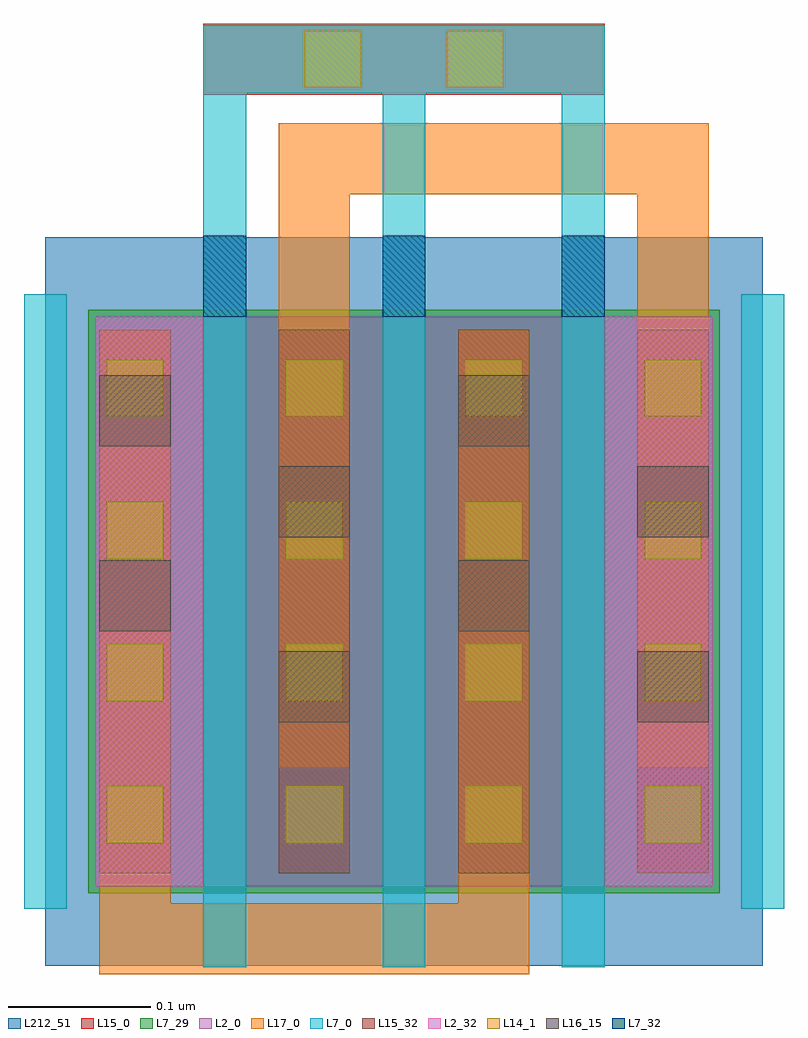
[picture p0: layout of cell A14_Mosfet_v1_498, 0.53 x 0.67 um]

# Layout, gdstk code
import gdstk
lib = gdstk.Library(unit=1e-6, precision=1e-09)
def R(c, l, rs):  # rectangles x0, y0, x1, y1
    for r in rs: c.add(gdstk.rectangle(r[:2], r[2:], *l))
def A(c, l, x, y, w, h, nx, ny, dx, dy):  # array of equal rectangles
    R(c, l, [(x+i*dx, y+j*dy, x+i*dx+w, y+j*dy+h) for i in range(nx) for j in range(ny)])
L2_0 = (2, 0)
L2_32 = (2, 32)
L7_0 = (7, 0)
L7_29 = (7, 29)
L7_32 = (7, 32)
L14_1 = (14, 1)
L15_0 = (15, 0)
L15_32 = (15, 32)
L16_15 = (16, 15)
L17_0 = (17, 0)
L212_51 = (212, 51)

a14_mosfet_v1_498_srf_so = lib.new_cell('A14_Mosfet_v1_498:SRF_Source_ViaM1M2:SRF_ViaM1M2')
R(a14_mosfet_v1_498_srf_so, L15_0, [(0,-0.162,0.05,0.082)])
R(a14_mosfet_v1_498_srf_so, L16_15, [(0,-0.13,0.05,-0.08), (0,0,0.05,0.05)])
R(a14_mosfet_v1_498_srf_so, L17_0, [(0,-0.162,0.05,0.082)])

c_a14_mosfet_v1_498_srf_so = lib.new_cell('A14_Mosfet_v1_498:SRF_Source_ViaM1M2')
c_a14_mosfet_v1_498_srf_so.add(gdstk.Reference(a14_mosfet_v1_498_srf_so, (-0.025,0.04)))

a14_mosfet_v1_498_srf_dr = lib.new_cell('A14_Mosfet_v1_498:SRF_Drain_ViaM1M2:SRF_ViaM1M2')
R(a14_mosfet_v1_498_srf_dr, L15_0, [(0,-0.162,0.05,0.082)])
R(a14_mosfet_v1_498_srf_dr, L16_15, [(0,-0.13,0.05,-0.08), (0,0,0.05,0.05)])
R(a14_mosfet_v1_498_srf_dr, L17_0, [(0,-0.162,0.05,0.082)])

c_a14_mosfet_v1_498_srf_dr = lib.new_cell('A14_Mosfet_v1_498:SRF_Drain_ViaM1M2')
c_a14_mosfet_v1_498_srf_dr.add(gdstk.Reference(a14_mosfet_v1_498_srf_dr, (-0.025,0.04)))

a14_mosfet_v1_498_srf_ga = lib.new_cell('A14_Mosfet_v1_498:SRF_Gate_ViaM0Mx:SRF_ViaM0M1')
R(a14_mosfet_v1_498_srf_ga, L7_0, [(-0.01,-0.004,0.15,0.044)])
R(a14_mosfet_v1_498_srf_ga, L14_1, [(0,0,0.04,0.04), (0.1,0,0.14,0.04)])
R(a14_mosfet_v1_498_srf_ga, L15_0, [(-0.021,-0.005,0.161,0.045)])

c_a14_mosfet_v1_498_srf_ga = lib.new_cell('A14_Mosfet_v1_498:SRF_Gate_ViaM0Mx')
c_a14_mosfet_v1_498_srf_ga.add(gdstk.Reference(a14_mosfet_v1_498_srf_ga, (-0.07,-0.02)))

a14_mosfet_v1_498 = lib.new_cell('A14_Mosfet_v1_498')
R(a14_mosfet_v1_498, L2_0, [(-0.076,0.057,0.358,0.457)])
R(a14_mosfet_v1_498, L2_32, [(-0.076,0.057,0,0.457), (0.282,0.057,0.358,0.457)])
A(a14_mosfet_v1_498, L7_0, 0, 0, 0.03, 0.514, 3, 1, 0.126, 0)
A(a14_mosfet_v1_498, L7_0, 0, 0.514, 0.03, 0.1, 3, 1, 0.126, 0)
R(a14_mosfet_v1_498, L7_0, [(-0.126,0.041,-0.096,0.473), (0.378,0.041,0.408,0.473), (0,0.614,0.282,0.662)])
R(a14_mosfet_v1_498, L7_29, [(-0.081,0.052,0.363,0.462)])
A(a14_mosfet_v1_498, L7_32, 0, 0.457, 0.03, 0.057, 3, 1, 0.126, 0)
A(a14_mosfet_v1_498, L14_1, -0.068, 0.087, 0.04, 0.04, 4, 4, 0.126, 0.1)
R(a14_mosfet_v1_498, L15_0, [(-0.073,0.066,-0.023,0.448), (-0.073,0.066,-0.023,0.448), (0.053,0.066,0.103,0.448), (0.053,0.066,0.103,0.448), (0.179,0.066,0.229,0.448), (0.179,0.066,0.229,0.448), (0.305,0.066,0.355,0.448), (0.305,0.066,0.355,0.448), (0,0.613,0.282,0.663)])
A(a14_mosfet_v1_498, L15_32, -0.073, 0.066, 0.05, 0.382, 4, 1, 0.126, 0)
R(a14_mosfet_v1_498, L17_0, [(-0.073,-0.005,0.229,0.045), (-0.073,0.045,-0.023,0.448), (0.179,0.045,0.229,0.448), (0.053,0.384,0.103,0.543), (0.305,0.384,0.355,0.543), (0.053,0.543,0.355,0.593)])
R(a14_mosfet_v1_498, L212_51, [(-0.111,0.001,0.393,0.513)])
a14_mosfet_v1_498.add(gdstk.Reference(c_a14_mosfet_v1_498_srf_so, (-0.048,0.326)))
a14_mosfet_v1_498.add(gdstk.Reference(c_a14_mosfet_v1_498_srf_so, (0.204,0.326)))
a14_mosfet_v1_498.add(gdstk.Reference(c_a14_mosfet_v1_498_srf_dr, (0.078,0.262)))
a14_mosfet_v1_498.add(gdstk.Reference(c_a14_mosfet_v1_498_srf_dr, (0.33,0.262)))
a14_mosfet_v1_498.add(gdstk.Reference(c_a14_mosfet_v1_498_srf_ga, (0.141,0.638)))

lib.write_gds('A14_Mosfet_v1_498.gds')
